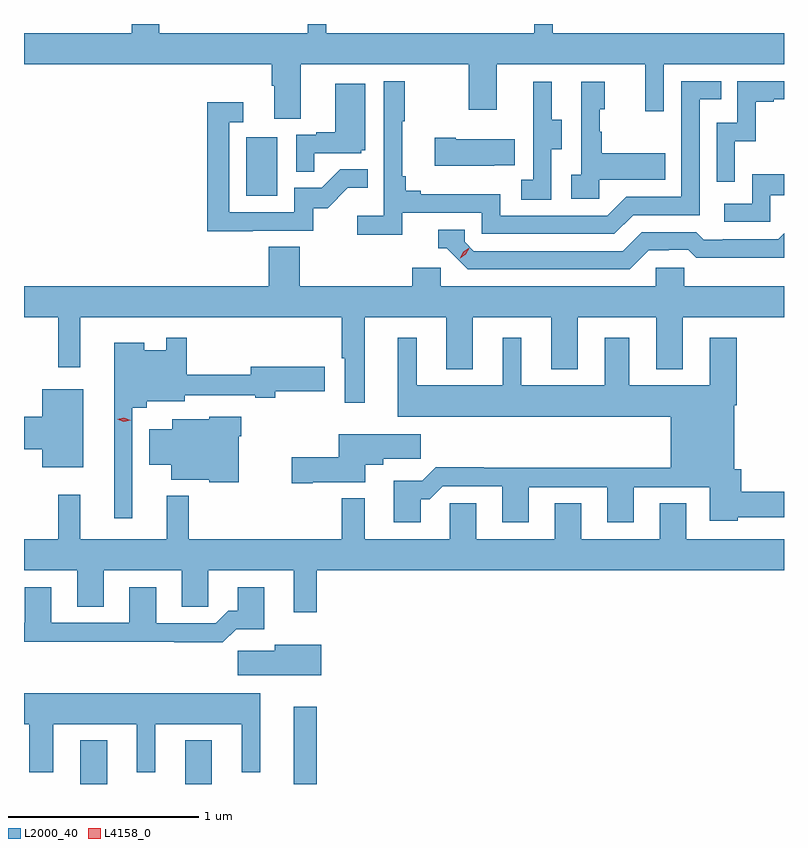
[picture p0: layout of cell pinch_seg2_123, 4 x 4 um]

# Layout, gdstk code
import gdstk
lib = gdstk.Library(unit=1e-6, precision=1e-09)
def R(c, l, rs):  # rectangles x0, y0, x1, y1
    for r in rs: c.add(gdstk.rectangle(r[:2], r[2:], *l))
def P(c, l, *ps):  # polygons
    for p in ps: c.add(gdstk.Polygon(p, *l))
L2000_40 = (2000, 40)
L4158_0 = (4158, 0)

pinch_seg2_123 = lib.new_cell('pinch_seg2_123')
R(pinch_seg2_123, L2000_40, [(1066.877,623.868,1067.017,624.097), (1067.429,623.868,1067.569,624.097), (1067.999,623.868,1068.121,624.274), (1067.75,626.964,1067.914,627.271)])
P(pinch_seg2_123, L2000_40, [(1068.037,627.656),(1068.922,627.656),(1068.922,627.417),(1069.069,627.417),(1069.069,627.656),(1069.85,627.656),(1069.85,627.408),(1069.947,627.408),(1069.947,627.656),(1070.58,627.656),(1070.58,627.82),(1069.362,627.82),(1069.362,627.868),(1069.266,627.868),(1069.266,627.82),(1068.171,627.82),(1068.171,627.868),(1068.074,627.868),(1068.074,627.82),(1067.293,627.82),(1067.293,627.868),(1067.146,627.868),(1067.146,627.82),(1066.58,627.82),(1066.58,627.656),(1067.885,627.656),(1067.885,627.544),(1067.897,627.544),(1067.897,627.37),(1068.037,627.37)],
  [(1068.572,626.874),(1068.99,626.874),(1068.99,626.763),(1069.687,626.763),(1069.786,626.862),(1070.136,626.862),(1070.136,627.471),(1070.249,627.471),(1070.249,627.567),(1070.04,627.567),(1070.04,626.958),(1069.749,626.958),(1069.65,626.859),(1069.086,626.859),(1069.086,626.971),(1068.667,626.971),(1068.667,626.99),(1068.59,626.99),(1068.59,627.067),(1068.571,627.067),(1068.571,627.355),(1068.583,627.355),(1068.583,627.568),(1068.474,627.568),(1068.474,626.86),(1068.333,626.86),(1068.333,626.758),(1068.572,626.758)],
  [(1070.322,627.251),(1070.432,627.251),(1070.432,627.459),(1070.527,627.459),(1070.527,627.471),(1070.58,627.471),(1070.58,627.567),(1070.334,627.567),(1070.334,627.348),(1070.226,627.348),(1070.226,627.039),(1070.322,627.039)],
  [(1069.356,627.208),(1069.411,627.208),(1069.411,627.363),(1069.357,627.363),(1069.357,627.565),(1069.259,627.565),(1069.259,627.351),(1069.26,627.351),(1069.26,627.047),(1069.197,627.047),(1069.197,626.944),(1069.356,626.944)],
  [(1069.608,627.047),(1069.955,627.047),(1069.955,627.187),(1069.621,627.187),(1069.621,627.302),(1069.611,627.302),(1069.611,627.42),(1069.636,627.42),(1069.636,627.565),(1069.512,627.565),(1069.512,627.074),(1069.461,627.074),(1069.461,626.949),(1069.608,626.949)],
  [(1068.107,627.189),(1068.354,627.189),(1068.354,627.204),(1068.376,627.204),(1068.376,627.553),(1068.218,627.553),(1068.218,627.298),(1068.119,627.298),(1068.119,627.285),(1068.012,627.285),(1068.012,627.091),(1068.107,627.091)],
  [(1067.783,626.781),(1068.102,626.781),(1068.102,626.898),(1068.178,626.898),(1068.285,627.005),(1068.389,627.005),(1068.389,627.104),(1068.245,627.104),(1068.147,627.006),(1068.003,627.006),(1068.003,626.877),(1067.661,626.877),(1067.661,627.351),(1067.734,627.351),(1067.734,627.457),(1067.545,627.457),(1067.545,626.776),(1067.783,626.776)],
  [(1069.055,627.125),(1069.163,627.125),(1069.163,627.262),(1068.853,627.262),(1068.853,627.27),(1068.741,627.27),(1068.741,627.122),(1069.055,627.122)],
  [(1070.508,626.967),(1070.58,626.967),(1070.58,627.076),(1070.412,627.076),(1070.412,626.922),(1070.265,626.922),(1070.265,626.826),(1070.508,626.826)],
  [(1069.867,626.676),(1069.974,626.676),(1069.974,626.679),(1070.077,626.679),(1070.119,626.637),(1070.352,626.637),(1070.352,626.639),(1070.58,626.639),(1070.58,626.766),(1070.55,626.736),(1070.257,626.736),(1070.257,626.733),(1070.158,626.733),(1070.119,626.772),(1069.83,626.772),(1069.731,626.673),(1068.948,626.673),(1068.9,626.721),(1068.9,626.784),(1068.761,626.784),(1068.761,626.688),(1068.804,626.688),(1068.915,626.577),(1069.768,626.577)],
  [(1068.032,626.696),(1067.867,626.696),(1067.867,626.488),(1066.58,626.488),(1066.58,626.324),(1066.759,626.324),(1066.759,626.061),(1066.876,626.061),(1066.876,626.324),(1068.252,626.324),(1068.252,626.108),(1068.269,626.108),(1068.269,625.875),(1068.373,625.875),(1068.373,626.324),(1068.803,626.324),(1068.803,626.051),(1068.943,626.051),(1068.943,626.324),(1069.355,626.324),(1069.355,626.051),(1069.495,626.051),(1069.495,626.324),(1069.907,626.324),(1069.907,626.051),(1070.047,626.051),(1070.047,626.324),(1070.58,626.324),(1070.58,626.488),(1070.055,626.488),(1070.055,626.586),(1069.905,626.586),(1069.905,626.488),(1068.774,626.488),(1068.774,626.586),(1068.623,626.586),(1068.623,626.488),(1068.032,626.488)],
  [(1067.151,625.847),(1067.225,625.847),(1067.225,625.883),(1067.425,625.883),(1067.425,625.914),(1067.798,625.914),(1067.798,625.902),(1067.902,625.902),(1067.902,625.936),(1068.163,625.936),(1068.163,626.065),(1067.774,626.065),(1067.774,626.023),(1067.437,626.023),(1067.437,626.218),(1067.328,626.218),(1067.328,626.152),(1067.212,626.152),(1067.212,626.191),(1067.054,626.191),(1067.054,625.266),(1067.151,625.266)],
  [(1068.667,625.367),(1068.716,625.367),(1068.783,625.434),(1069.097,625.434),(1069.097,625.245),(1069.237,625.245),(1069.237,625.431),(1069.649,625.431),(1069.649,625.245),(1069.789,625.245),(1069.789,625.431),(1070.189,625.431),(1070.189,625.253),(1070.337,625.253),(1070.337,625.271),(1070.58,625.271),(1070.58,625.406),(1070.354,625.406),(1070.354,625.524),(1070.317,625.524),(1070.317,625.862),(1070.33,625.862),(1070.33,626.218),(1070.189,626.218),(1070.189,625.966),(1069.765,625.966),(1069.765,626.218),(1069.637,626.218),(1069.637,625.966),(1069.198,625.966),(1069.198,626.218),(1069.1,626.218),(1069.1,625.966),(1068.646,625.966),(1068.646,626.218),(1068.548,626.218),(1068.548,625.802),(1069.985,625.802),(1069.985,625.532),(1069.001,625.532),(1069.001,625.535),(1068.746,625.535),(1068.676,625.465),(1068.527,625.465),(1068.527,625.245),(1068.667,625.245)],
  [(1066.891,625.945),(1066.676,625.945),(1066.676,625.802),(1066.58,625.802),(1066.58,625.63),(1066.676,625.63),(1066.676,625.535),(1066.891,625.535)],
  [(1067.71,625.697),(1067.723,625.697),(1067.723,625.801),(1067.556,625.801),(1067.556,625.789),(1067.36,625.789),(1067.36,625.735),(1067.24,625.735),(1067.24,625.547),(1067.354,625.547),(1067.354,625.469),(1067.556,625.469),(1067.556,625.457),(1067.71,625.457)],
  [(1068.1,625.457),(1068.376,625.457),(1068.376,625.547),(1068.472,625.547),(1068.472,625.579),(1068.667,625.579),(1068.667,625.708),(1068.236,625.708),(1068.236,625.587),(1067.988,625.587),(1067.988,625.45),(1068.1,625.45)],
  [(1068.121,624.992),(1070.58,624.992),(1070.58,625.156),(1070.065,625.156),(1070.065,625.346),(1069.925,625.346),(1069.925,625.156),(1069.513,625.156),(1069.513,625.346),(1069.373,625.346),(1069.373,625.156),(1068.961,625.156),(1068.961,625.346),(1068.822,625.346),(1068.822,625.156),(1068.373,625.156),(1068.373,625.372),(1068.252,625.372),(1068.252,625.156),(1067.447,625.156),(1067.447,625.384),(1067.33,625.384),(1067.33,625.156),(1066.877,625.156),(1066.877,625.39),(1066.759,625.39),(1066.759,625.156),(1066.58,625.156),(1066.58,624.992),(1066.859,624.992),(1066.859,624.802),(1066.999,624.802),(1066.999,624.992),(1067.411,624.992),(1067.411,624.802),(1067.55,624.802),(1067.55,624.992),(1067.999,624.992),(1067.999,624.771),(1068.121,624.771)],
  [(1067.696,624.683),(1067.845,624.683),(1067.845,624.904),(1067.705,624.904),(1067.705,624.781),(1067.656,624.781),(1067.589,624.714),(1067.275,624.714),(1067.275,624.904),(1067.135,624.904),(1067.135,624.717),(1066.723,624.717),(1066.723,624.904),(1066.583,624.904),(1066.583,624.717),(1066.58,624.717),(1066.58,624.616),(1067.371,624.616),(1067.371,624.614),(1067.627,624.614)],
  [(1068.145,624.601),(1067.9,624.601),(1067.9,624.569),(1067.706,624.569),(1067.706,624.44),(1068.145,624.44)],
  [(1066.735,624.182),(1067.174,624.182),(1067.174,623.931),(1067.272,623.931),(1067.272,624.182),(1067.726,624.182),(1067.726,623.931),(1067.824,623.931),(1067.824,624.346),(1066.58,624.346),(1066.58,624.182),(1066.607,624.182),(1066.607,623.931),(1066.735,623.931)])
P(pinch_seg2_123, L4158_0, [(1067.105,625.775),(1067.071,625.787),(1067.07,625.787),(1067.071,625.787),(1067.106,625.795),(1067.141,625.783),(1067.141,625.783),(1067.141,625.783)],
  [(1068.875,626.636),(1068.875,626.637),(1068.892,626.669),(1068.922,626.688),(1068.923,626.688),(1068.923,626.688),(1068.906,626.655),(1068.876,626.636)])

lib.write_gds('pinch_seg2_123.gds')
